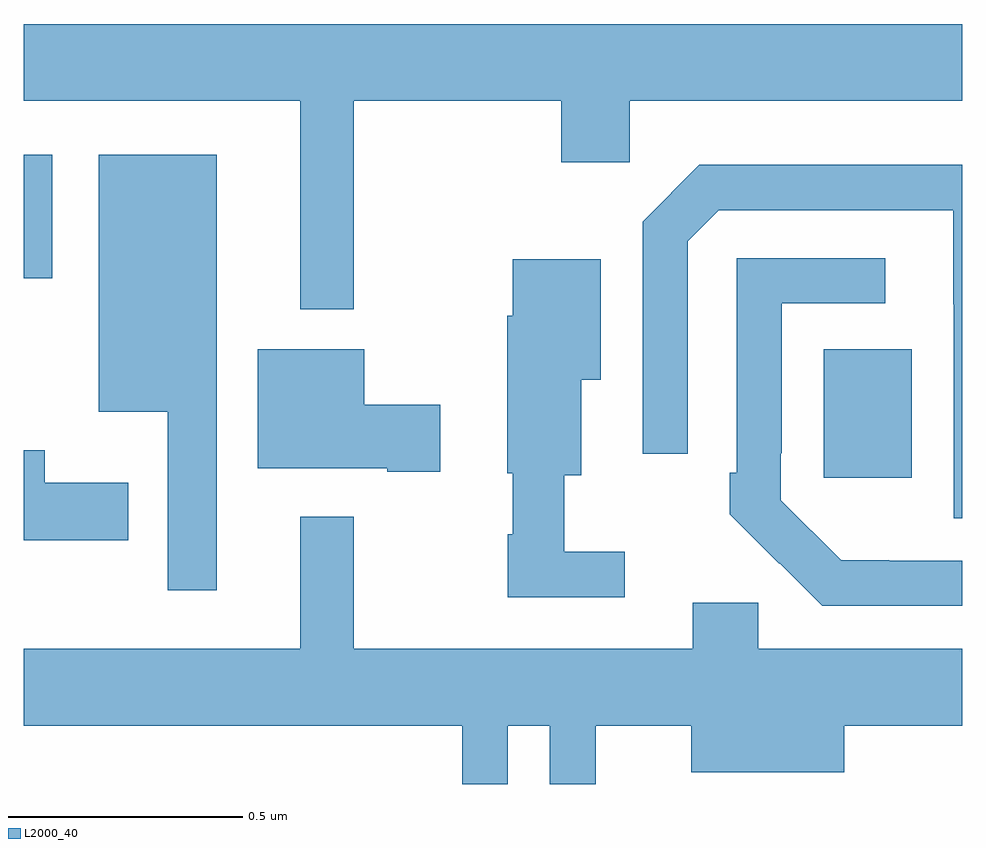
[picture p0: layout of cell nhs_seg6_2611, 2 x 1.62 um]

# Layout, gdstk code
import gdstk
lib = gdstk.Library(unit=1e-6, precision=1e-09)
def R(c, l, rs):  # rectangles x0, y0, x1, y1
    for r in rs: c.add(gdstk.rectangle(r[:2], r[2:], *l))
def P(c, l, *ps):  # polygons
    for p in ps: c.add(gdstk.Polygon(p, *l))
L2000_40 = (2000, 40)

nhs_seg6_2611 = lib.new_cell('nhs_seg6_2611')
R(nhs_seg6_2611, L2000_40, [(146.705,993.153,146.893,993.427), (145,993.578,145.06,993.841)])
P(nhs_seg6_2611, L2000_40, [(145.703,993.956),(146.146,993.956),(146.146,993.825),(146.292,993.825),(146.292,993.956),(147,993.956),(147,994.12),(145,994.12),(145,993.956),(145.589,993.956),(145.589,993.512),(145.703,993.512)],
  [(145.411,993.841),(145.16,993.841),(145.16,993.293),(145.307,993.293),(145.307,992.913),(145.411,992.913)],
  [(147,993.82),(146.44,993.82),(146.319,993.699),(146.319,993.204),(146.415,993.204),(146.415,993.657),(146.481,993.723),(146.981,993.723),(146.981,993.523),(146.982,993.523),(146.982,993.066),(147,993.066)],
  [(147,992.976),(146.845,992.976),(146.845,992.977),(146.742,992.977),(146.613,993.105),(146.613,993.205),(146.616,993.205),(146.616,993.525),(146.836,993.525),(146.836,993.621),(146.52,993.621),(146.52,993.163),(146.505,993.163),(146.505,993.075),(146.61,992.97),(146.611,992.971),(146.702,992.88),(147,992.88)],
  [(146.281,992.995),(146.152,992.995),(146.152,993.158),(146.188,993.158),(146.188,993.362),(146.23,993.362),(146.23,993.619),(146.042,993.619),(146.042,993.498),(146.03,993.498),(146.03,993.162),(146.042,993.162),(146.042,993.032),(146.031,993.032),(146.031,992.898),(146.281,992.898)],
  [(145.888,993.308),(145.726,993.308),(145.726,993.427),(145.499,993.427),(145.499,993.173),(145.775,993.173),(145.775,993.166),(145.888,993.166)],
  [(145.222,993.142),(145.045,993.142),(145.045,993.211),(145,993.211),(145,993.02),(145.222,993.02)],
  [(146.031,992.624),(146.121,992.624),(146.121,992.5),(146.219,992.5),(146.219,992.624),(146.423,992.624),(146.423,992.525),(146.749,992.525),(146.749,992.624),(147,992.624),(147,992.788),(146.565,992.788),(146.565,992.886),(146.426,992.886),(146.426,992.788),(145.703,992.788),(145.703,993.07),(145.589,993.07),(145.589,992.788),(145,992.788),(145,992.624),(145.934,992.624),(145.934,992.5),(146.031,992.5)])

lib.write_gds('nhs_seg6_2611.gds')
